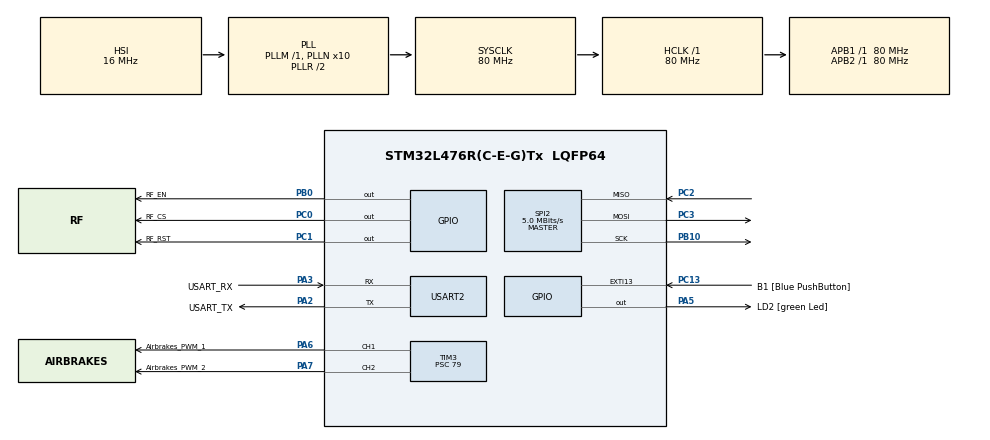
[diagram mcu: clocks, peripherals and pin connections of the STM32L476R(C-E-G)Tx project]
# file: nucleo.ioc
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Mcu.Family=STM32L4
Mcu.Name=STM32L476R(C-E-G)Tx
Mcu.Package=LQFP64
NVIC.PriorityGroup=NVIC_PRIORITYGROUP_4
PA13\ (JTMS-SWDIO).GPIO_Label=TMS
PA13\ (JTMS-SWDIO).Mode=Serial_Wire
PA13\ (JTMS-SWDIO).Signal=SYS_JTMS-SWDIO
PA14\ (JTCK-SWCLK).GPIO_Label=TCK
PA14\ (JTCK-SWCLK).Mode=Serial_Wire
PA14\ (JTCK-SWCLK).Signal=SYS_JTCK-SWCLK
PA2.GPIO_Label=USART_TX
PA2.GPIO_Mode=GPIO_MODE_AF_PP
PA2.GPIO_PuPd=GPIO_NOPULL
PA2.GPIO_Speed=GPIO_SPEED_FREQ_VERY_HIGH
PA2.Mode=Asynchronous
PA2.Signal=USART2_TX
PA3.GPIO_Label=USART_RX
PA3.GPIO_Mode=GPIO_MODE_AF_PP
PA3.GPIO_PuPd=GPIO_NOPULL
PA3.GPIO_Speed=GPIO_SPEED_FREQ_VERY_HIGH
PA3.Mode=Asynchronous
PA3.Signal=USART2_RX
PA5.GPIO_Label=LD2 [green Led]
PA5.GPIO_ModeDefaultOutputPP=GPIO_MODE_OUTPUT_PP
PA5.GPIO_PuPd=GPIO_NOPULL
PA5.GPIO_Speed=GPIO_SPEED_FREQ_LOW
PA5.Signal=GPIO_Output
PA6.GPIO_Label=Airbrakes_PWM_1
PA6.Signal=S_TIM3_CH1
PA7.GPIO_Label=Airbrakes_PWM_2
PA7.Signal=S_TIM3_CH2
PB0.GPIO_Label=RF_EN
PB0.Signal=GPIO_Output
PB10.Mode=Full_Duplex_Master
PB10.Signal=SPI2_SCK
PB3\ (JTDO-TRACESWO).GPIO_Label=SWO
PB3\ (JTDO-TRACESWO).Signal=SYS_JTDO-SWO
PC0.GPIO_Label=RF_CS
PC0.Signal=GPIO_Output
PC1.GPIO_Label=RF_RST
PC1.Signal=GPIO_Output
PC13.GPIO_Label=B1 [Blue PushButton]
PC13.GPIO_ModeDefaultEXTI=GPIO_MODE_IT_FALLING
PC13.GPIO_PuPd=GPIO_NOPULL
PC13.Signal=GPXTI13
PC14-OSC32_IN\ (PC14).Mode=LSE-External-Oscillator
PC14-OSC32_IN\ (PC14).Signal=RCC_OSC32_IN
PC15-OSC32_OUT\ (PC15).Mode=LSE-External-Oscillator
PC15-OSC32_OUT\ (PC15).Signal=RCC_OSC32_OUT
PC2.Mode=Full_Duplex_Master
PC2.Signal=SPI2_MISO
PC3.Mode=Full_Duplex_Master
PC3.Signal=SPI2_MOSI
PH0-OSC_IN\ (PH0).Signal=RCC_OSC_IN
PH1-OSC_OUT\ (PH1).Signal=RCC_OSC_OUT
ProjectManager.HeapSize=0x200
ProjectManager.StackSize=0x400
ProjectManager.TargetToolchain=STM32CubeIDE
RCC.ADCFreq_Value=64000000
RCC.AHBFreq_Value=80000000
RCC.APB1Freq_Value=80000000
RCC.APB1TimFreq_Value=80000000
RCC.APB2Freq_Value=80000000
RCC.APB2TimFreq_Value=80000000
RCC.CortexFreq_Value=80000000
RCC.HCLKFreq_Value=80000000
RCC.HSE_VALUE=8000000
RCC.HSI_VALUE=16000000
RCC.MSI_VALUE=4000000
RCC.PLLN=10
RCC.PLLSourceVirtual=RCC_PLLSOURCE_HSI
RCC.PREFETCH_ENABLE=1
RCC.SYSCLKFreq_VALUE=80000000
RCC.SYSCLKSource=RCC_SYSCLKSOURCE_PLLCLK
RCC.USBFreq_Value=64000000
RCC.VCOOutputFreq_Value=160000000
SH.S_TIM3_CH1.0=TIM3_CH1,PWM Generation1 CH1
SH.S_TIM3_CH2.0=TIM3_CH2,PWM Generation2 CH2
SPI2.BaudRatePrescaler=SPI_BAUDRATEPRESCALER_16
SPI2.CLKPhase=SPI_PHASE_1EDGE
SPI2.CLKPolarity=SPI_POLARITY_LOW
SPI2.CalculateBaudRate=5.0 MBits/s
SPI2.DataSize=SPI_DATASIZE_8BIT
SPI2.Direction=SPI_DIRECTION_2LINES
SPI2.FirstBit=SPI_FIRSTBIT_MSB
SPI2.Mode=SPI_MODE_MASTER
SPI2.NSSPMode=SPI_NSS_PULSE_ENABLE
SPI2.VirtualType=VM_MASTER
TIM3.AutoReloadPreload=TIM_AUTORELOAD_PRELOAD_ENABLE
TIM3.Channel-PWM\ Generation1\ CH1=TIM_CHANNEL_1
TIM3.Channel-PWM\ Generation2\ CH2=TIM_CHANNEL_2
TIM3.Period=20000-1
TIM3.Prescaler=79
USART2.VirtualMode-Asynchronous=VM_ASYNC
VP_TIM3_VS_ClockSourceINT.Mode=Internal
board=NUCLEO-L476RG

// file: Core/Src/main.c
/* USER CODE BEGIN Header */
/**
  ******************************************************************************
  * @file           : main.c
  * @brief          : Main program body
  ******************************************************************************
  * @attention
  *
  * Copyright (c) 2026 STMicroelectronics.
  * All rights reserved.
  *
  * This software is licensed under terms that can be found in the LICENSE file
  * in the root directory of this software component.
  * If no LICENSE file comes with this software, it is provided AS-IS.
  *
  ******************************************************************************
  */
/* USER CODE END Header */
#include "main.h"

/* USER CODE BEGIN Includes */

#include "rfm9x.h"
#include "airbrakes_testing.h"
#include <stdio.h>

/* USER CODE END Includes */

SPI_HandleTypeDef hspi2;

TIM_HandleTypeDef htim3;

UART_HandleTypeDef huart2;

/* USER CODE BEGIN PV */

uint8_t rxbuf[64];
uint8_t len;
uint32_t packet_num = 1;

float debug_value = 0;
uint32_t debug_time = 0;
Telemetry_t telemetry;

uint32_t last_tx = 0;

/* USER CODE END PV */

void SystemClock_Config(void);
static void MX_GPIO_Init(void);
static void MX_USART2_UART_Init(void);
static void MX_SPI2_Init(void);
static void MX_TIM3_Init(void);

int main(void)
{

  /* MCU Configuration--------------------------------------------------------*/

  /* Reset of all peripherals, Initializes the Flash interface and the Systick. */
  HAL_Init();

  /* Configure the system clock */
  SystemClock_Config();

  /* Initialize all configured peripherals */
  MX_GPIO_Init();
  MX_USART2_UART_Init();
  MX_SPI2_Init();
  MX_TIM3_Init();
  /* USER CODE BEGIN 2 */

  init_airbrakes_servo();

  RFM9X_Init(&hspi2, RF_CS_GPIO_Port, RF_CS_Pin, RF_RST_GPIO_Port, RF_RST_Pin, RF_EN_GPIO_Port, RF_EN_Pin);

  // Testing airbrakes functions
  telemetry.velocity_world_z = 200;
  telemetry.velocity_world_x = 0;
  telemetry.velocity_world_y = 0;
  telemetry.temperature = 20;
  telemetry.altitude = 1000;
  telemetry.pressure = 1014;

  uint32_t t = HAL_GetTick();
//  debug_value = predict_apogee(&telemetry, 28);
  set_optimal_deployment(GLIDING_ASCENT, &telemetry);
  debug_time = HAL_GetTick() - t;

  // What is deltaT

  /* USER CODE END 2 */

  /* Infinite loop */
  /* USER CODE BEGIN WHILE */
  while (1)
  {
	  /* ---- RADIO STATE UPDATE ---- */
	  RFM9X_Poll();

	  /* ---- RECEIVE ---- */
	  len = RFM9X_Receive(rxbuf, sizeof(rxbuf));
	  if(len > 0)
	  {
		  // handle received packet
		  HAL_GPIO_TogglePin(GPIOA, GPIO_PIN_5);
	  }

	  /* ---- TRANSMIT PERIODICALLY ---- */
	  if(HAL_GetTick() - last_tx > 1000 && !RFM9X_IsTxBusy())
	  {
		  char msg[16];
		  snprintf(msg, sizeof(msg), "Packet %lu", ++packet_num);
		  RFM9X_Send((uint8_t *)msg, sizeof(msg));
		  last_tx += 1000;
	  }

	  HAL_Delay(10);

//	  set_airbrakes_servo_angle(0);
//	  HAL_Delay(460);
//	  set_airbrakes_servo_angle(180);
//	  HAL_Delay(2000);

//	  for (int i = 0; i < 181; ++i){
//		  set_airbrakes_servo_angle(i);
//		  HAL_Delay(10);
//	  }
//	  HAL_Delay(1000);
//	  set_airbrakes_servo_angle(0);
//	  HAL_Delay(1000);
//	  set_airbrakes_servo_angle(45);
//	  HAL_Delay(1000);
//	  set_airbrakes_servo_angle(90);
//	  HAL_Delay(1000);
//	  set_airbrakes_servo_angle(135);
//	  HAL_Delay(1000);
//	  set_airbrakes_servo_angle(180);
//	  HAL_Delay(1000);

//	  set_airbrakes_servo_angle(50);
//	  HAL_Delay(1000);

//	  set_airbrakes_servo_angle(120);
//	  HAL_Delay(1000);
//	  for (int i = 120; i > 20; --i){
//		  set_airbrakes_servo_angle(i);
//		  HAL_Delay(10);
//	  }
//	  HAL_Delay(1000000);

//	  set_airbrakes_servo_angle(180);
//	  HAL_Delay(1000);
//	  set_airbrakes_servo_angle(0);
//	  HAL_Delay(10000);

//	  set_airbrakes_servo_angle(90);
//	  HAL_Delay(1000);
//	  set_airbrakes_servo_angle(0);
//	  HAL_Delay(10000);
//	  set_airbrakes_servo_angle(90);
//	  HAL_Delay(1000);
//	  set_airbrakes_servo_angle(135);
//	  HAL_Delay(1000);
//	  set_airbrakes_servo_angle(180);
//	  HAL_Delay(1000);

    /* USER CODE END WHILE */

  }
}

void SystemClock_Config(void)
{
  RCC_OscInitTypeDef RCC_OscInitStruct = {0};
  RCC_ClkInitTypeDef RCC_ClkInitStruct = {0};

  /** Configure the main internal regulator output voltage
  */
  if (HAL_PWREx_ControlVoltageScaling(PWR_REGULATOR_VOLTAGE_SCALE1) != HAL_OK)
  {
    Error_Handler();
  }

  /** Initializes the RCC Oscillators according to the specified parameters
  * in the RCC_OscInitTypeDef structure.
  */
  RCC_OscInitStruct.OscillatorType = RCC_OSCILLATORTYPE_HSI;
  RCC_OscInitStruct.HSIState = RCC_HSI_ON;
  RCC_OscInitStruct.HSICalibrationValue = RCC_HSICALIBRATION_DEFAULT;
  RCC_OscInitStruct.PLL.PLLState = RCC_PLL_ON;
  RCC_OscInitStruct.PLL.PLLSource = RCC_PLLSOURCE_HSI;
  RCC_OscInitStruct.PLL.PLLM = 1;
  RCC_OscInitStruct.PLL.PLLN = 10;
  RCC_OscInitStruct.PLL.PLLP = RCC_PLLP_DIV7;
  RCC_OscInitStruct.PLL.PLLQ = RCC_PLLQ_DIV2;
  RCC_OscInitStruct.PLL.PLLR = RCC_PLLR_DIV2;
  if (HAL_RCC_OscConfig(&RCC_OscInitStruct) != HAL_OK)
  {
    Error_Handler();
  }

  /** Initializes the CPU, AHB and APB buses clocks
  */
  RCC_ClkInitStruct.ClockType = RCC_CLOCKTYPE_HCLK|RCC_CLOCKTYPE_SYSCLK
                              |RCC_CLOCKTYPE_PCLK1|RCC_CLOCKTYPE_PCLK2;
  RCC_ClkInitStruct.SYSCLKSource = RCC_SYSCLKSOURCE_PLLCLK;
  RCC_ClkInitStruct.AHBCLKDivider = RCC_SYSCLK_DIV1;
  RCC_ClkInitStruct.APB1CLKDivider = RCC_HCLK_DIV1;
  RCC_ClkInitStruct.APB2CLKDivider = RCC_HCLK_DIV1;

  if (HAL_RCC_ClockConfig(&RCC_ClkInitStruct, FLASH_LATENCY_4) != HAL_OK)
  {
    Error_Handler();
  }
}

static void MX_SPI2_Init(void)
{

  /* SPI2 parameter configuration*/
  hspi2.Instance = SPI2;
  hspi2.Init.Mode = SPI_MODE_MASTER;
  hspi2.Init.Direction = SPI_DIRECTION_2LINES;
  hspi2.Init.DataSize = SPI_DATASIZE_8BIT;
  hspi2.Init.CLKPolarity = SPI_POLARITY_LOW;
  hspi2.Init.CLKPhase = SPI_PHASE_1EDGE;
  hspi2.Init.NSS = SPI_NSS_SOFT;
  hspi2.Init.BaudRatePrescaler = SPI_BAUDRATEPRESCALER_16;
  hspi2.Init.FirstBit = SPI_FIRSTBIT_MSB;
  hspi2.Init.TIMode = SPI_TIMODE_DISABLE;
  hspi2.Init.CRCCalculation = SPI_CRCCALCULATION_DISABLE;
  hspi2.Init.CRCPolynomial = 7;
  hspi2.Init.CRCLength = SPI_CRC_LENGTH_DATASIZE;
  hspi2.Init.NSSPMode = SPI_NSS_PULSE_ENABLE;
  if (HAL_SPI_Init(&hspi2) != HAL_OK)
  {
    Error_Handler();
  }

}

static void MX_TIM3_Init(void)
{

  TIM_ClockConfigTypeDef sClockSourceConfig = {0};
  TIM_MasterConfigTypeDef sMasterConfig = {0};
  TIM_OC_InitTypeDef sConfigOC = {0};

  htim3.Instance = TIM3;
  htim3.Init.Prescaler = 79;
  htim3.Init.CounterMode = TIM_COUNTERMODE_UP;
  htim3.Init.Period = 20000-1;
  htim3.Init.ClockDivision = TIM_CLOCKDIVISION_DIV1;
  htim3.Init.AutoReloadPreload = TIM_AUTORELOAD_PRELOAD_ENABLE;
  if (HAL_TIM_Base_Init(&htim3) != HAL_OK)
  {
    Error_Handler();
  }
  sClockSourceConfig.ClockSource = TIM_CLOCKSOURCE_INTERNAL;
  if (HAL_TIM_ConfigClockSource(&htim3, &sClockSourceConfig) != HAL_OK)
  {
    Error_Handler();
  }
  if (HAL_TIM_PWM_Init(&htim3) != HAL_OK)
  {
    Error_Handler();
  }
  sMasterConfig.MasterOutputTrigger = TIM_TRGO_RESET;
  sMasterConfig.MasterSlaveMode = TIM_MASTERSLAVEMODE_DISABLE;
  if (HAL_TIMEx_MasterConfigSynchronization(&htim3, &sMasterConfig) != HAL_OK)
  {
    Error_Handler();
  }
  sConfigOC.OCMode = TIM_OCMODE_PWM1;
  sConfigOC.Pulse = 0;
  sConfigOC.OCPolarity = TIM_OCPOLARITY_HIGH;
  sConfigOC.OCFastMode = TIM_OCFAST_DISABLE;
  if (HAL_TIM_PWM_ConfigChannel(&htim3, &sConfigOC, TIM_CHANNEL_1) != HAL_OK)
  {
    Error_Handler();
  }
  if (HAL_TIM_PWM_ConfigChannel(&htim3, &sConfigOC, TIM_CHANNEL_2) != HAL_OK)
  {
    Error_Handler();
  }
  HAL_TIM_MspPostInit(&htim3);

}

static void MX_USART2_UART_Init(void)
{

  huart2.Instance = USART2;
  huart2.Init.BaudRate = 115200;
  huart2.Init.WordLength = UART_WORDLENGTH_8B;
  huart2.Init.StopBits = UART_STOPBITS_1;
  huart2.Init.Parity = UART_PARITY_NONE;
  huart2.Init.Mode = UART_MODE_TX_RX;
  huart2.Init.HwFlowCtl = UART_HWCONTROL_NONE;
  huart2.Init.OverSampling = UART_OVERSAMPLING_16;
  huart2.Init.OneBitSampling = UART_ONE_BIT_SAMPLE_DISABLE;
  huart2.AdvancedInit.AdvFeatureInit = UART_ADVFEATURE_NO_INIT;
  if (HAL_UART_Init(&huart2) != HAL_OK)
  {
    Error_Handler();
  }

}

static void MX_GPIO_Init(void)
{
  GPIO_InitTypeDef GPIO_InitStruct = {0};

  /* GPIO Ports Clock Enable */
  __HAL_RCC_GPIOC_CLK_ENABLE();
  __HAL_RCC_GPIOH_CLK_ENABLE();
  __HAL_RCC_GPIOA_CLK_ENABLE();
  __HAL_RCC_GPIOB_CLK_ENABLE();

  /*Configure GPIO pin Output Level */
  HAL_GPIO_WritePin(GPIOC, RF_CS_Pin|RF_RST_Pin, GPIO_PIN_RESET);

  /*Configure GPIO pin Output Level */
  HAL_GPIO_WritePin(LD2_GPIO_Port, LD2_Pin, GPIO_PIN_RESET);

  /*Configure GPIO pin Output Level */
  HAL_GPIO_WritePin(RF_EN_GPIO_Port, RF_EN_Pin, GPIO_PIN_RESET);

  /*Configure GPIO pin : B1_Pin */
  GPIO_InitStruct.Pin = B1_Pin;
  GPIO_InitStruct.Mode = GPIO_MODE_IT_FALLING;
  GPIO_InitStruct.Pull = GPIO_NOPULL;
  HAL_GPIO_Init(B1_GPIO_Port, &GPIO_InitStruct);

  /*Configure GPIO pins : RF_CS_Pin RF_RST_Pin */
  GPIO_InitStruct.Pin = RF_CS_Pin|RF_RST_Pin;
  GPIO_InitStruct.Mode = GPIO_MODE_OUTPUT_PP;
  GPIO_InitStruct.Pull = GPIO_NOPULL;
  GPIO_InitStruct.Speed = GPIO_SPEED_FREQ_LOW;
  HAL_GPIO_Init(GPIOC, &GPIO_InitStruct);

  /*Configure GPIO pin : LD2_Pin */
  GPIO_InitStruct.Pin = LD2_Pin;
  GPIO_InitStruct.Mode = GPIO_MODE_OUTPUT_PP;
  GPIO_InitStruct.Pull = GPIO_NOPULL;
  GPIO_InitStruct.Speed = GPIO_SPEED_FREQ_LOW;
  HAL_GPIO_Init(LD2_GPIO_Port, &GPIO_InitStruct);

  /*Configure GPIO pin : RF_EN_Pin */
  GPIO_InitStruct.Pin = RF_EN_Pin;
  GPIO_InitStruct.Mode = GPIO_MODE_OUTPUT_PP;
  GPIO_InitStruct.Pull = GPIO_NOPULL;
  GPIO_InitStruct.Speed = GPIO_SPEED_FREQ_LOW;
  HAL_GPIO_Init(RF_EN_GPIO_Port, &GPIO_InitStruct);

}

void Error_Handler(void)
{
  __disable_irq();
  while (1)
  {
  }
}
